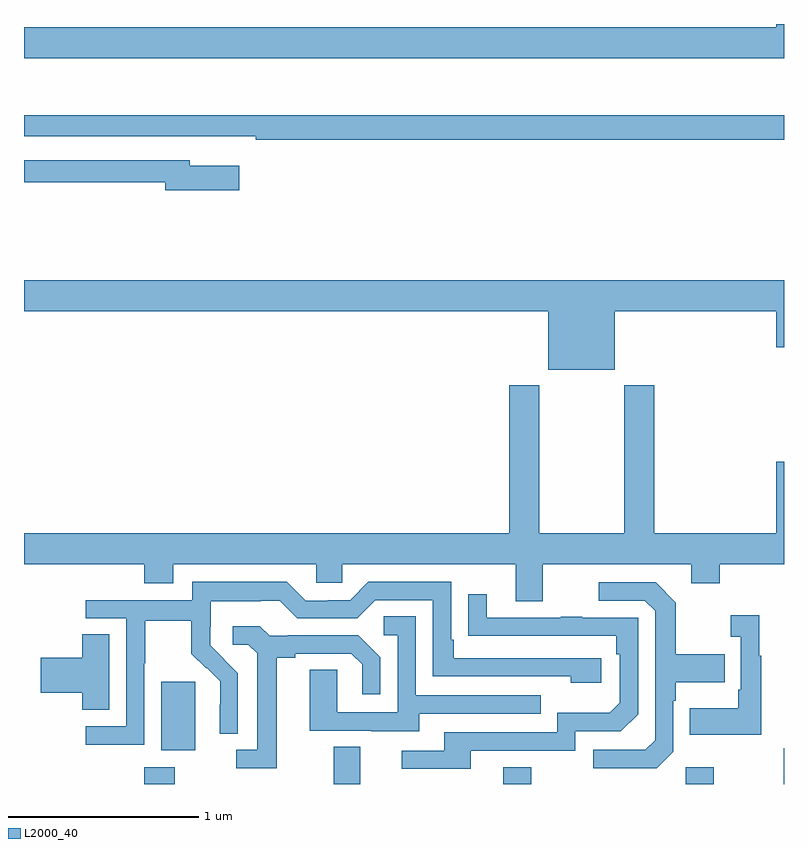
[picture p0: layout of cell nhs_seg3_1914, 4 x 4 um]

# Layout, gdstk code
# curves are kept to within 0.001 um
import gdstk
lib = gdstk.Library(unit=1e-6, precision=1e-09)
def R(c, l, rs):  # rectangles x0, y0, x1, y1
    for r in rs: c.add(gdstk.rectangle(r[:2], r[2:], *l))
def P(c, l, *ps):  # polygons
    for p in ps: c.add(gdstk.Polygon(p, *l))
L2000_40 = (2000, 40)

nhs_seg3_1914 = lib.new_cell('nhs_seg3_1914')
R(nhs_seg3_1914, L2000_40, [(209.633,726.4,209.793,726.487), (210.629,726.4,210.769,726.596), (211.523,726.4,211.671,726.487), (212.484,726.4,212.631,726.487), (212.998,726.4,213,726.587), (209.723,726.578,209.902,726.939)])
P(nhs_seg3_1914, L2000_40, [(213,730.4),(212.96,730.4),(212.96,730.384),(209,730.384),(209,730.22),(213,730.22)],
  [(213,729.919),(209,729.919),(209,729.81),(209.968,729.81),(209.968,729.809),(210.22,729.809),(210.22,729.79),(213,729.79)],
  [(210.133,729.655),(209.872,729.655),(209.872,729.684),(209,729.684),(209,729.568),(209.744,729.568),(209.744,729.526),(210.133,729.526)],
  [(212.11,728.888),(212.96,728.888),(212.96,728.7),(213,728.7),(213,729.052),(209,729.052),(209,728.888),(211.76,728.888),(211.76,728.579),(212.11,728.579)],
  [(211.729,727.556),(212.513,727.556),(212.513,727.457),(212.661,727.457),(212.661,727.556),(213,727.556),(213,728.095),(212.96,728.095),(212.96,727.72),(212.318,727.72),(212.318,728.5),(212.158,728.5),(212.158,727.72),(211.713,727.72),(211.713,728.5),(211.553,728.5),(211.553,727.72),(209,727.72),(209,727.556),(209.633,727.556),(209.633,727.457),(209.785,727.457),(209.785,727.556),(210.537,727.556),(210.537,727.458),(210.675,727.458),(210.675,727.556),(211.589,727.556),(211.589,727.362),(211.729,727.362)],
  [(209.634,727.036),(209.637,727.036),(209.637,727.26),(209.881,727.26),(209.881,727.085),(209.958,727.008),(209.961,727.011),(210.032,726.941),(210.032,726.818),(210.03,726.818),(210.03,726.664),(210.126,726.664),(210.126,726.982),(209.98,727.13),(209.98,727.227),(209.982,727.227),(209.982,727.361),(210.245,727.361),(210.245,727.365),(210.345,727.365),(210.438,727.272),(210.753,727.272),(210.849,727.368),(211.152,727.368),(211.152,726.966),(211.877,726.966),(211.877,726.932),(212.038,726.932),(212.038,727.062),(211.261,727.062),(211.261,727.159),(211.248,727.159),(211.248,727.464),(210.813,727.464),(210.717,727.368),(210.599,727.368),(210.599,727.365),(210.483,727.365),(210.383,727.465),(209.886,727.465),(209.886,727.368),(209.325,727.368),(209.325,727.272),(209.538,727.272),(209.538,726.705),(209.325,726.705),(209.325,726.607),(209.634,726.607)],
  [(212.418,726.57),(212.418,726.839),(212.431,726.839),(212.431,726.935),(212.687,726.935),(212.687,727.083),(212.431,727.083),(212.431,727.355),(212.325,727.461),(212.025,727.461),(212.025,727.365),(212.268,727.365),(212.322,727.311),(212.322,726.63),(212.271,726.579),(211.995,726.579),(211.995,726.483),(212.331,726.483)],
  [(211.351,726.576),(211.902,726.576),(211.902,726.678),(212.142,726.678),(212.232,726.768),(212.232,727.275),(211.937,727.275),(211.937,727.28),(211.825,727.28),(211.825,727.275),(211.435,727.275),(211.435,727.399),(211.339,727.399),(211.339,727.18),(212.116,727.179),(212.116,727.082),(212.136,727.082),(212.136,726.828),(212.083,726.775),(211.806,726.775),(211.806,726.672),(211.211,726.672),(211.211,726.576),(210.987,726.576),(210.987,726.48),(211.351,726.48)],
  [(212.881,727.075),(212.869,727.075),(212.869,727.288),(212.721,727.288),(212.721,727.175),(212.772,727.175),(212.772,726.895),(212.76,726.895),(212.76,726.799),(212.503,726.799),(212.503,726.659),(212.881,726.659)],
  [(211.081,726.771),(211.721,726.771),(211.721,726.867),(211.062,726.867),(211.062,727.283),(210.894,727.283),(210.894,727.182),(210.966,727.182),(210.966,726.777),(210.648,726.777),(210.648,727.001),(210.503,727.001),(210.503,726.681),(210.827,726.681),(210.827,726.677),(211.081,726.677)],
  [(210.331,727.064),(210.427,727.064),(210.427,727.086),(210.722,727.086),(210.779,727.029),(210.779,726.873),(210.876,726.873),(210.876,727.066),(210.76,727.182),(210.388,727.182),(210.388,727.179),(210.294,727.179),(210.242,727.231),(210.099,727.231),(210.099,727.134),(210.18,727.134),(210.227,727.087),(210.227,726.579),(210.117,726.579),(210.117,726.483),(210.331,726.483)],
  [(209.449,727.187),(209.306,727.187),(209.306,727.064),(209.088,727.064),(209.088,726.881),(209.306,726.881),(209.306,726.79),(209.449,726.79)])

lib.write_gds('nhs_seg3_1914.gds')
